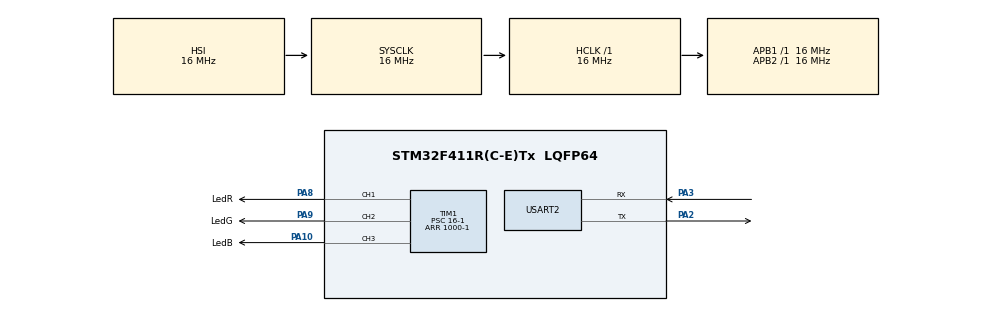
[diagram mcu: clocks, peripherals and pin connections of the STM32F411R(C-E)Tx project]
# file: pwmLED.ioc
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Mcu.Family=STM32F4
Mcu.Name=STM32F411R(C-E)Tx
Mcu.Package=LQFP64
NVIC.PriorityGroup=NVIC_PRIORITYGROUP_4
NVIC.USART2_IRQn=true\:0\:0\:false\:false\:true\:true\:true\:true
PA10.GPIO_Label=LedB
PA10.Signal=S_TIM1_CH3
PA2.Mode=Asynchronous
PA2.Signal=USART2_TX
PA3.Mode=Asynchronous
PA3.Signal=USART2_RX
PA8.GPIO_Label=LedR
PA8.Signal=S_TIM1_CH1
PA9.GPIO_Label=LedG
PA9.Signal=S_TIM1_CH2
ProjectManager.HeapSize=0x200
ProjectManager.StackSize=0x400
ProjectManager.TargetToolchain=STM32CubeIDE
RCC.AHBFreq_Value=16000000
RCC.APB1Freq_Value=16000000
RCC.APB2Freq_Value=16000000
RCC.CortexFreq_Value=16000000
RCC.HSE_VALUE=25000000
RCC.HSI_VALUE=16000000
RCC.LSE_VALUE=32768
RCC.SYSCLKFreq_VALUE=16000000
RCC.VCOOutputFreq_Value=192000000
SH.S_TIM1_CH1.0=TIM1_CH1,PWM Generation1 CH1
SH.S_TIM1_CH2.0=TIM1_CH2,PWM Generation2 CH2
SH.S_TIM1_CH3.0=TIM1_CH3,PWM Generation3 CH3
TIM1.Channel-PWM\ Generation1\ CH1=TIM_CHANNEL_1
TIM1.Channel-PWM\ Generation2\ CH2=TIM_CHANNEL_2
TIM1.Channel-PWM\ Generation3\ CH3=TIM_CHANNEL_3
TIM1.Period=1000-1
TIM1.Prescaler=16-1
TIM1.Pulse-PWM\ Generation1\ CH1=1
TIM1.Pulse-PWM\ Generation2\ CH2=1
USART2.VirtualMode=VM_ASYNC
VP_TIM1_VS_ClockSourceINT.Mode=Internal
board=custom

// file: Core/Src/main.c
/* USER CODE BEGIN Header */
/**
  ******************************************************************************
  * @file           : main.c
  * @brief          : Main program body
  ******************************************************************************
  * @attention
  *
  * Copyright (c) 2024 STMicroelectronics.
  * All rights reserved.
  *
  * This software is licensed under terms that can be found in the LICENSE file
  * in the root directory of this software component.
  * If no LICENSE file comes with this software, it is provided AS-IS.
  *
  ******************************************************************************
  */
/* USER CODE END Header */
#include "main.h"

/* USER CODE BEGIN Includes */
#include "uart.h"
#include "hsv2rgb.h"
#include <stdio.h>
/* USER CODE END Includes */

TIM_HandleTypeDef htim1;

UART_HandleTypeDef huart2;

void SystemClock_Config(void);
static void MX_GPIO_Init(void);
static void MX_USART2_UART_Init(void);
static void MX_TIM1_Init(void);

int main(void)
{

  /* MCU Configuration--------------------------------------------------------*/

  /* Reset of all peripherals, Initializes the Flash interface and the Systick. */
  HAL_Init();

  /* Configure the system clock */
  SystemClock_Config();

  /* Initialize all configured peripherals */
  MX_GPIO_Init();
  MX_USART2_UART_Init();
  MX_TIM1_Init();
  /* USER CODE BEGIN 2 */
  //HAL_TIM_Base_Start(&htim2);
  HAL_TIM_PWM_Start(&htim1, TIM_CHANNEL_1);
  HAL_TIM_PWM_Start(&htim1, TIM_CHANNEL_2);
  HAL_TIM_PWM_Start(&htim1, TIM_CHANNEL_3);

  struct hsv_colour hsv;
  struct rgb_colour rgb;
  hsv.h = 0;
  /* USER CODE END 2 */

  /* Infinite loop */
  /* USER CODE BEGIN WHILE */
  while (1)
  {
  	hsv.s = 1;
  	hsv.v = 0.5;
  	hsv2rgb(&hsv, &rgb);
  	htim1.Instance ->CCR1 = rgb.r * 999;
  	htim1.Instance ->CCR2 = rgb.g * 999;
  	htim1.Instance ->CCR3 = rgb.b * 999;
  	hsv.h += 0.01;
  	if(hsv.h >= 1.0) hsv.h = 0.0;
  	HAL_Delay(500);
//  	htim1.Instance->CCR1 = 10-1;
//  	htim1.Instance->CCR2 = 10-1;
//  	htim1.Instance->CCR3 = 10-1;
  	//rgb change
//  	for(int i = 0; i <50; i++){
//  		htim1.Instance->CCR1 = 49-i;
//  		htim1.Instance->CCR2 = i;
//  		HAL_Delay(20);
//  	}
//  	for(int i = 0; i <50; i++){
//  		htim1.Instance->CCR2 = 49-i;
//  		htim1.Instance->CCR3 = i;
//  		HAL_Delay(20);
//  	}
//  	for(int i = 0; i <50; i++){
//  		htim1.Instance->CCR3 = 49-i;
//  		htim1.Instance->CCR1 = i;
//  		HAL_Delay(20);
//  	}
//////professor's code
//  	for(int i = 0; i < 1000; i++){
//  		htim2.Instance->CCR1 = i;
//  		HAL_Delay(1);
//  	}
//  	for(int i = 0; i < 1000; i++){
//  		htim2.Instance->CCR1 = 999-i;
//  		HAL_Delay(1);
//  	}
//////its my code
//  	for(int i = 1; i<2000; i++){
//  		if(i<1000){
//  		htim2.Instance->CCR1 = i-1;
//  		HAL_Delay(1);
//  		}
//  		else{
//    		htim2.Instance->CCR1 = 2000-i-1;
//    		HAL_Delay(1);
//  		}
//  	}
    /* USER CODE END WHILE */

  }
}

void SystemClock_Config(void)
{
  RCC_OscInitTypeDef RCC_OscInitStruct = {0};
  RCC_ClkInitTypeDef RCC_ClkInitStruct = {0};

  /** Configure the main internal regulator output voltage
  */
  __HAL_RCC_PWR_CLK_ENABLE();
  __HAL_PWR_VOLTAGESCALING_CONFIG(PWR_REGULATOR_VOLTAGE_SCALE1);

  /** Initializes the RCC Oscillators according to the specified parameters
  * in the RCC_OscInitTypeDef structure.
  */
  RCC_OscInitStruct.OscillatorType = RCC_OSCILLATORTYPE_HSI;
  RCC_OscInitStruct.HSIState = RCC_HSI_ON;
  RCC_OscInitStruct.HSICalibrationValue = RCC_HSICALIBRATION_DEFAULT;
  RCC_OscInitStruct.PLL.PLLState = RCC_PLL_NONE;
  if (HAL_RCC_OscConfig(&RCC_OscInitStruct) != HAL_OK)
  {
    Error_Handler();
  }

  /** Initializes the CPU, AHB and APB buses clocks
  */
  RCC_ClkInitStruct.ClockType = RCC_CLOCKTYPE_HCLK|RCC_CLOCKTYPE_SYSCLK
                              |RCC_CLOCKTYPE_PCLK1|RCC_CLOCKTYPE_PCLK2;
  RCC_ClkInitStruct.SYSCLKSource = RCC_SYSCLKSOURCE_HSI;
  RCC_ClkInitStruct.AHBCLKDivider = RCC_SYSCLK_DIV1;
  RCC_ClkInitStruct.APB1CLKDivider = RCC_HCLK_DIV1;
  RCC_ClkInitStruct.APB2CLKDivider = RCC_HCLK_DIV1;

  if (HAL_RCC_ClockConfig(&RCC_ClkInitStruct, FLASH_LATENCY_0) != HAL_OK)
  {
    Error_Handler();
  }
}

static void MX_TIM1_Init(void)
{

  TIM_ClockConfigTypeDef sClockSourceConfig = {0};
  TIM_MasterConfigTypeDef sMasterConfig = {0};
  TIM_OC_InitTypeDef sConfigOC = {0};
  TIM_BreakDeadTimeConfigTypeDef sBreakDeadTimeConfig = {0};

  htim1.Instance = TIM1;
  htim1.Init.Prescaler = 16-1;
  htim1.Init.CounterMode = TIM_COUNTERMODE_UP;
  htim1.Init.Period = 1000-1;
  htim1.Init.ClockDivision = TIM_CLOCKDIVISION_DIV1;
  htim1.Init.RepetitionCounter = 0;
  htim1.Init.AutoReloadPreload = TIM_AUTORELOAD_PRELOAD_DISABLE;
  if (HAL_TIM_Base_Init(&htim1) != HAL_OK)
  {
    Error_Handler();
  }
  sClockSourceConfig.ClockSource = TIM_CLOCKSOURCE_INTERNAL;
  if (HAL_TIM_ConfigClockSource(&htim1, &sClockSourceConfig) != HAL_OK)
  {
    Error_Handler();
  }
  if (HAL_TIM_PWM_Init(&htim1) != HAL_OK)
  {
    Error_Handler();
  }
  sMasterConfig.MasterOutputTrigger = TIM_TRGO_RESET;
  sMasterConfig.MasterSlaveMode = TIM_MASTERSLAVEMODE_DISABLE;
  if (HAL_TIMEx_MasterConfigSynchronization(&htim1, &sMasterConfig) != HAL_OK)
  {
    Error_Handler();
  }
  sConfigOC.OCMode = TIM_OCMODE_PWM1;
  sConfigOC.Pulse = 1;
  sConfigOC.OCPolarity = TIM_OCPOLARITY_HIGH;
  sConfigOC.OCNPolarity = TIM_OCNPOLARITY_HIGH;
  sConfigOC.OCFastMode = TIM_OCFAST_DISABLE;
  sConfigOC.OCIdleState = TIM_OCIDLESTATE_RESET;
  sConfigOC.OCNIdleState = TIM_OCNIDLESTATE_RESET;
  if (HAL_TIM_PWM_ConfigChannel(&htim1, &sConfigOC, TIM_CHANNEL_1) != HAL_OK)
  {
    Error_Handler();
  }
  if (HAL_TIM_PWM_ConfigChannel(&htim1, &sConfigOC, TIM_CHANNEL_2) != HAL_OK)
  {
    Error_Handler();
  }
  sConfigOC.Pulse = 0;
  if (HAL_TIM_PWM_ConfigChannel(&htim1, &sConfigOC, TIM_CHANNEL_3) != HAL_OK)
  {
    Error_Handler();
  }
  sBreakDeadTimeConfig.OffStateRunMode = TIM_OSSR_DISABLE;
  sBreakDeadTimeConfig.OffStateIDLEMode = TIM_OSSI_DISABLE;
  sBreakDeadTimeConfig.LockLevel = TIM_LOCKLEVEL_OFF;
  sBreakDeadTimeConfig.DeadTime = 0;
  sBreakDeadTimeConfig.BreakState = TIM_BREAK_DISABLE;
  sBreakDeadTimeConfig.BreakPolarity = TIM_BREAKPOLARITY_HIGH;
  sBreakDeadTimeConfig.AutomaticOutput = TIM_AUTOMATICOUTPUT_DISABLE;
  if (HAL_TIMEx_ConfigBreakDeadTime(&htim1, &sBreakDeadTimeConfig) != HAL_OK)
  {
    Error_Handler();
  }
  HAL_TIM_MspPostInit(&htim1);

}

static void MX_USART2_UART_Init(void)
{

  huart2.Instance = USART2;
  huart2.Init.BaudRate = 115200;
  huart2.Init.WordLength = UART_WORDLENGTH_8B;
  huart2.Init.StopBits = UART_STOPBITS_1;
  huart2.Init.Parity = UART_PARITY_NONE;
  huart2.Init.Mode = UART_MODE_TX_RX;
  huart2.Init.HwFlowCtl = UART_HWCONTROL_NONE;
  huart2.Init.OverSampling = UART_OVERSAMPLING_16;
  if (HAL_UART_Init(&huart2) != HAL_OK)
  {
    Error_Handler();
  }

}

static void MX_GPIO_Init(void)
{

  /* GPIO Ports Clock Enable */
  __HAL_RCC_GPIOA_CLK_ENABLE();

}

void Error_Handler(void)
{
  __disable_irq();
  while (1)
  {
  }
}
